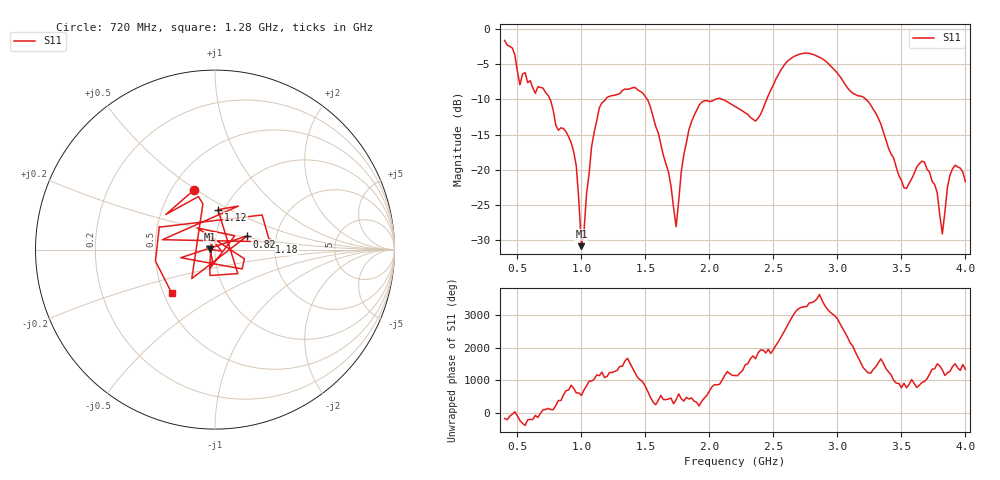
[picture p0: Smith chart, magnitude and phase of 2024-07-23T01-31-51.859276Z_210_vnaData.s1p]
!Created with skrf (http://scikit-rf.org).
# Hz S RI R 50.0
!freq ReS11 ImS11
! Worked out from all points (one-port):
!   181 points, 400 MHz to 4 GHz, reference 50 ohm
!   lowest |S11| = -30.8 dB at 1 GHz (marker M1), VSWR 1.06, Z = 47.2 + j0.109 ohm
!   |S11| at or under -10 dB: 755 MHz to 1.19 GHz (434.5 MHz wide, 44.7 % of centre); 1.513 GHz to 2.049 GHz (535.4 MHz wide, 30.1 % of centre); 3.222 GHz to end of sweep (the widest 3 of 4)
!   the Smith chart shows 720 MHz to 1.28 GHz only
!   S11 on the Smith chart (normalised r, x): 720 MHz: 0.65, +0.49; 820 MHz: 1.41, +0.21; 1.12 GHz: 0.93, +0.44; 1.18 GHz: 1.87, +0.18; 1.28 GHz: 0.55, -0.30
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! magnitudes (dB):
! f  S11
! 400 MHz  -1.7
! 520 MHz  -8.0
! 720 MHz  -9.0
! 820 MHz  -14.4
! 860 MHz  -14.2
! 960 MHz  -19.5
! 1 GHz  -30.8
! 1.12 GHz  -13.0
! 1.18 GHz  -10.2
! 1.28 GHz  -9.3
! 1.3 GHz  -9.2
! 1.52 GHz  -10.2
! 1.68 GHz  -20.3
! 1.74 GHz  -28.1
! 1.76 GHz  -24.4
! 1.84 GHz  -14.3
! 1.92 GHz  -10.8
! 2.2 GHz  -11.0
! 2.36 GHz  -13.1
! 2.66 GHz  -3.9
! 3.1 GHz  -8.8
! 3.26 GHz  -10.8
! 3.56 GHz  -21.9
! 3.68 GHz  -18.9
! 3.78 GHz  -23.3
! 3.82 GHz  -29.1
! 3.9 GHz  -19.8
! 4 GHz  -21.7
